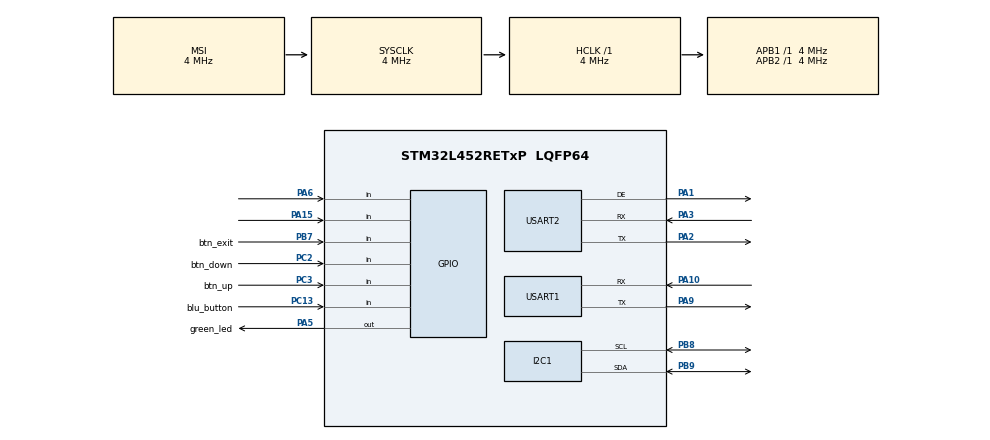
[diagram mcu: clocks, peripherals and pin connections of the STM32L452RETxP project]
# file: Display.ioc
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Mcu.Family=STM32L4
Mcu.Name=STM32L452RETxP
Mcu.Package=LQFP64
NVIC.I2C1_ER_IRQn=true\:0\:0\:false\:false\:true\:true\:true\:true
NVIC.PriorityGroup=NVIC_PRIORITYGROUP_4
PA1.Mode=Hardware Flow Control (RS485)
PA1.Signal=USART2_DE
PA10.Mode=Asynchronous
PA10.Signal=USART1_RX
PA15\ (JTDI).GPIO_PuPd=GPIO_PULLUP
PA15\ (JTDI).Signal=GPIO_Input
PA2.Mode=Asynchronous
PA2.Signal=USART2_TX
PA3.Mode=Asynchronous
PA3.Signal=USART2_RX
PA5.GPIO_Label=green_led
PA5.Signal=GPIO_Output
PA6.Signal=GPIO_Input
PA9.Mode=Asynchronous
PA9.Signal=USART1_TX
PB7.GPIO_Label=btn_exit
PB7.GPIO_PuPd=GPIO_PULLUP
PB7.Signal=GPIO_Input
PB8.Mode=I2C
PB8.Signal=I2C1_SCL
PB9.Mode=I2C
PB9.Signal=I2C1_SDA
PC13.GPIO_Label=blu_button
PC13.Signal=GPIO_Input
PC14-OSC32_IN\ (PC14).Mode=LSE-External-Oscillator
PC14-OSC32_IN\ (PC14).Signal=RCC_OSC32_IN
PC15-OSC32_OUT\ (PC15).Mode=LSE-External-Oscillator
PC15-OSC32_OUT\ (PC15).Signal=RCC_OSC32_OUT
PC2.GPIO_Label=btn_down
PC2.GPIO_PuPd=GPIO_PULLUP
PC2.Signal=GPIO_Input
PC3.GPIO_Label=btn_up
PC3.GPIO_PuPd=GPIO_PULLUP
PC3.Signal=GPIO_Input
PH0-OSC_IN\ (PH0).Mode=HSE-External-Oscillator
PH0-OSC_IN\ (PH0).Signal=RCC_OSC_IN
PH1-OSC_OUT\ (PH1).Mode=HSE-External-Oscillator
PH1-OSC_OUT\ (PH1).Signal=RCC_OSC_OUT
ProjectManager.HeapSize=0x200
ProjectManager.StackSize=0x400
ProjectManager.TargetToolchain=STM32CubeIDE
RCC.ADCFreq_Value=64000000
RCC.AHBFreq_Value=4000000
RCC.APB1Freq_Value=4000000
RCC.APB1TimFreq_Value=4000000
RCC.APB2Freq_Value=4000000
RCC.APB2TimFreq_Value=4000000
RCC.CortexFreq_Value=4000000
RCC.HCLKFreq_Value=4000000
RCC.HSE_VALUE=8000000
RCC.HSI48_VALUE=48000000
RCC.HSI_VALUE=16000000
RCC.MSI_VALUE=4000000
RCC.PLLSourceVirtual=RCC_PLLSOURCE_HSI
RCC.SYSCLKFreq_VALUE=4000000
RCC.USART1CLockSelection=RCC_USART1CLKSOURCE_SYSCLK
RCC.USBFreq_Value=64000000
RCC.VCOOutputFreq_Value=128000000
TIM1.AutoReloadPreload=TIM_AUTORELOAD_PRELOAD_ENABLE
USART1.VirtualMode-Asynchronous=VM_ASYNC
USART2.VirtualMode-Asynchronous=VM_ASYNC
USART2.VirtualMode-Hardware\ Flow\ Control\ (RS485)=VM_ASYNC
VP_TIM1_VS_ClockSourceINT.Mode=Internal
VP_TIM1_VS_OPM.Mode=OPM_bit
board=custom

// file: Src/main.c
/* USER CODE BEGIN Header */
/**
  ******************************************************************************
  * @file           : main.c
  * @brief          : Main program body
  ******************************************************************************
  * @attention
  *
  * Copyright (c) 2024 STMicroelectronics.
  * All rights reserved.
  *
  * This software is licensed under terms that can be found in the LICENSE file
  * in the root directory of this software component.
  * If no LICENSE file comes with this software, it is provided AS-IS.
  *
  ******************************************************************************
  */
/* USER CODE END Header */
#include "main.h"
#include "i2c.h"
#include "tim.h"
#include "usart.h"
#include "gpio.h"

/* USER CODE BEGIN Includes */

#include "Global.h"
#include "Init.h"
#include "Driver/Rtc_DS1307.h"

extern void button_navigation_handler(void);
extern void init_main_menu(void);

/* USER CODE END Includes */

/* USER CODE BEGIN PFP */
void SystemClock_Config(void);
/* USER CODE END PFP */

/* USER CODE BEGIN 0 */
//uint8_t rx_buff[10];
//uint16_t crc_val = 0;
//uint8_t tx_buff[13] = "Hello World\r\n";

/* USER CODE END 0 */

int main(void)
{
  /* USER CODE BEGIN 1 */
   //*****************************************************************************
   /* MCU Configuration--------------------------------------------------------*/

  /* Reset of all peripherals, Initializes the Flash interface and the Systick. */

  Antirip1 = 0;
  Antirip2 = 0;
  Antirip3 = 0;
  Antirip4 = 0;

  /* USER CODE END 1 */

  /* MCU Configuration--------------------------------------------------------*/

  /* Reset of all peripherals, Initializes the Flash interface and the Systick. */
  HAL_Init();

  /* USER CODE BEGIN Init */
  //*****************************************************************************

  /* USER CODE END Init */

  /* Configure the system clock */
  SystemClock_Config();

  /* USER CODE BEGIN SysInit */
  //*****************************************************************************
  /* USER CODE END SysInit */

  /* Initialize all configured peripherals */
  MX_GPIO_Init();
  MX_I2C1_Init();
  MX_TIM1_Init();
  MX_USART1_UART_Init();
  MX_USART2_UART_Init();

  /* USER CODE BEGIN 2 */
  //*****************************************************************************
  HAL_UART_Receive_IT(&huart1, rx_buff_uart2, 5);

  Init_micro();
  init_main_menu();

  /* USER CODE END 2 */

  /* Infinite loop */
  /* USER CODE BEGIN WHILE */
  //*****************************************************************************

  while (1)
  {
    /* USER CODE END WHILE */
     //*****************************************************************************
    /* USER CODE BEGIN 3 */
     //*****************************************************************************
     button_navigation_handler();                            // Handler tasti navigazione

     if ( attiva_risposta == 1)
     {
         attiva_risposta = 0;
         uint8_t tx_buff[] = "OK\r\n";
         HAL_UART_Transmit(&huart1, tx_buff, sizeof(tx_buff) - 1, 100);
     }

  }

  /* USER CODE END 3 */
}

void SystemClock_Config(void)
{
  RCC_OscInitTypeDef RCC_OscInitStruct = {0};
  RCC_ClkInitTypeDef RCC_ClkInitStruct = {0};

  /** Configure the main internal regulator output voltage
  */
  if (HAL_PWREx_ControlVoltageScaling(PWR_REGULATOR_VOLTAGE_SCALE1) != HAL_OK)
  {
    Error_Handler();
  }

  /** Configure LSE Drive Capability
  */
  HAL_PWR_EnableBkUpAccess();
  __HAL_RCC_LSEDRIVE_CONFIG(RCC_LSEDRIVE_LOW);

  /** Initializes the RCC Oscillators according to the specified parameters
  * in the RCC_OscInitTypeDef structure.
  */
  RCC_OscInitStruct.OscillatorType = RCC_OSCILLATORTYPE_LSE|RCC_OSCILLATORTYPE_MSI;
  RCC_OscInitStruct.LSEState = RCC_LSE_ON;
  RCC_OscInitStruct.MSIState = RCC_MSI_ON;
  RCC_OscInitStruct.MSICalibrationValue = 0;
  RCC_OscInitStruct.MSIClockRange = RCC_MSIRANGE_6;
  RCC_OscInitStruct.PLL.PLLState = RCC_PLL_NONE;
  if (HAL_RCC_OscConfig(&RCC_OscInitStruct) != HAL_OK)
  {
    Error_Handler();
  }

  /** Initializes the CPU, AHB and APB buses clocks
  */
  RCC_ClkInitStruct.ClockType = RCC_CLOCKTYPE_HCLK|RCC_CLOCKTYPE_SYSCLK
                              |RCC_CLOCKTYPE_PCLK1|RCC_CLOCKTYPE_PCLK2;
  RCC_ClkInitStruct.SYSCLKSource = RCC_SYSCLKSOURCE_MSI;
  RCC_ClkInitStruct.AHBCLKDivider = RCC_SYSCLK_DIV1;
  RCC_ClkInitStruct.APB1CLKDivider = RCC_HCLK_DIV1;
  RCC_ClkInitStruct.APB2CLKDivider = RCC_HCLK_DIV1;

  if (HAL_RCC_ClockConfig(&RCC_ClkInitStruct, FLASH_LATENCY_0) != HAL_OK)
  {
    Error_Handler();
  }

  /** Enable MSI Auto calibration
  */
  HAL_RCCEx_EnableMSIPLLMode();
}

/* USER CODE BEGIN 4 */
//*****************************************************************************

/* USER CODE END 4 */

void Error_Handler(void)
{
  __disable_irq();
  while (1)
  {
  }
}
